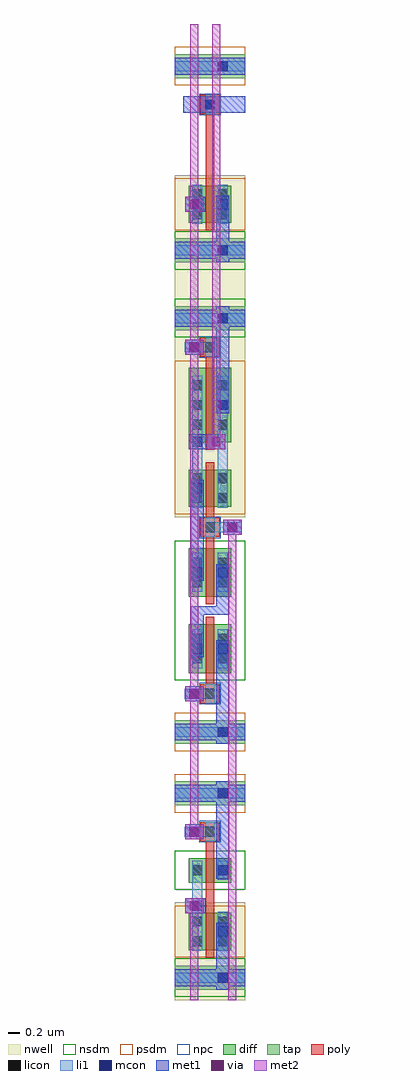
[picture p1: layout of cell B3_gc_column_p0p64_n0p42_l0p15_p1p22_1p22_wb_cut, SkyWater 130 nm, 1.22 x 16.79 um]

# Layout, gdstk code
from math import pi, radians
import gdstk
lib = gdstk.Library(unit=1e-6, precision=1e-09)
def R(c, l, rs):  # rectangles x0, y0, x1, y1
    for r in rs: c.add(gdstk.rectangle(r[:2], r[2:], *l))
def A(c, l, x, y, w, h, nx, ny, dx, dy):  # array of equal rectangles
    R(c, l, [(x+i*dx, y+j*dy, x+i*dx+w, y+j*dy+h) for i in range(nx) for j in range(ny)])
nwell = (64, 20)
diff = (65, 20)
tap = (65, 44)
poly = (66, 20)
licon = (66, 44)
li1 = (67, 20)
mcon = (67, 44)
met1 = (68, 20)
via = (68, 44)
met2 = (69, 20)
nsdm = (93, 44)
psdm = (94, 20)
npc = (95, 20)

b3_gc_pup_p0p64_n0p42_l0 = lib.new_cell('B3_gc_pup_p0p64_n0p42_l0p15_p1p22')
R(b3_gc_pup_p0p64_n0p42_l0, nwell, [(0,-0.245,1.68,0.975)])
R(b3_gc_pup_p0p64_n0p42_l0, diff, [(0.86,0,1.5,0.73)])
R(b3_gc_pup_p0p64_n0p42_l0, tap, [(0.18,-0.245,0.59,0.975), (3.35,-0.245,3.76,0.975)])
R(b3_gc_pup_p0p64_n0p42_l0, poly, [(2.73,0.2,3.06,0.53), (0.73,0.29,2.57,0.44), (0.73,0.29,1.63,0.44), (2.57,0.29,2.735,0.44)])
R(b3_gc_pup_p0p64_n0p42_l0, licon, [(0.3,0.06,0.47,0.23), (0.925,0.06,1.095,0.23), (1.265,0.06,1.435,0.23), (3.47,0.06,3.64,0.23), (2.81,0.28,2.98,0.45), (0.925,0.5,1.095,0.67), (1.265,0.5,1.435,0.67)])
R(b3_gc_pup_p0p64_n0p42_l0, li1, [(0.3,-0.245,0.47,0.975), (3.47,-0.245,3.64,0.975), (0.845,0.06,1.515,0.23), (2.73,0.28,3.06,0.45), (0.845,0.5,1.515,0.67), (0.845,0.5,1.515,0.67)])
R(b3_gc_pup_p0p64_n0p42_l0, mcon, [(0.3,0.06,0.47,0.23), (1.095,0.06,1.265,0.23), (3.47,0.06,3.64,0.23)])
R(b3_gc_pup_p0p64_n0p42_l0, met1, [(0.24,-0.245,0.53,0.975), (3.41,-0.245,3.7,0.975), (0.24,0,0.53,0.29), (3.41,0,3.7,0.29), (0.18,0.03,1.325,0.26), (1.035,0.03,1.325,0.26)])
R(b3_gc_pup_p0p64_n0p42_l0, nsdm, [(0.055,-0.245,0.715,0.975)])
R(b3_gc_pup_p0p64_n0p42_l0, psdm, [(0.735,-0.245,1.625,0.975), (3.225,-0.245,3.885,0.975)])
R(b3_gc_pup_p0p64_n0p42_l0, npc, [(2.71,0.18,3.08,0.55)])
b3_gc_pup_p0p64_n0p42_l0.add(gdstk.Label('vss', (3.555,0.145), layer=68, texttype=5))
b3_gc_pup_p0p64_n0p42_l0.add(gdstk.Label('vdd', (0.385,0.145), layer=68, texttype=5))
b3_gc_pup_p0p64_n0p42_l0.add(gdstk.Label('y', (1.18,0.585), layer=67, texttype=5))
b3_gc_pup_p0p64_n0p42_l0.add(gdstk.Label('a', (2.895,0.365), layer=67, texttype=5))

b3_gc_nand_p0p64_n0p42_l = lib.new_cell('B3_gc_nand_p0p64_n0p42_l0p15_p1p22')
R(b3_gc_nand_p0p64_n0p42_l, nwell, [(0,-0.245,3.81,0.975)])
R(b3_gc_nand_p0p64_n0p42_l, diff, [(1.24,0,2.52,0.73), (2.99,0,3.63,0.73), (4.34,0,5.18,0.73), (5.65,0,6.49,0.73)])
R(b3_gc_nand_p0p64_n0p42_l, tap, [(0.18,-0.245,0.59,0.975), (7.3,-0.245,7.71,0.975)])
R(b3_gc_nand_p0p64_n0p42_l, poly, [(0.72,0.2,1.05,0.53), (3.82,0.2,4.15,0.53), (6.68,0.2,7.01,0.53), (0.725,0.29,2.65,0.44), (1.11,0.29,2.65,0.44), (2.86,0.29,4.145,0.44), (2.86,0.29,3.76,0.44), (3.82,0.29,4.215,0.44), (4.21,0.29,5.31,0.44), (5.52,0.29,6.62,0.44), (5.52,0.29,7.005,0.44)])
A(b3_gc_nand_p0p64_n0p42_l, licon, 1.455, 0.06, 0.17, 0.17, 3, 2, 0.34, 0.44)
R(b3_gc_nand_p0p64_n0p42_l, licon, [(0.3,0.06,0.47,0.23), (3.055,0.06,3.225,0.23), (3.395,0.06,3.565,0.23), (4.505,0.06,4.675,0.23), (4.845,0.06,5.015,0.23), (5.815,0.06,5.985,0.23), (6.155,0.06,6.325,0.23), (7.42,0.06,7.59,0.23), (0.8,0.28,0.97,0.45), (3.9,0.28,4.07,0.45), (6.76,0.28,6.93,0.45), (3.055,0.5,3.225,0.67), (3.395,0.5,3.565,0.67), (4.505,0.5,4.675,0.67), (4.845,0.5,5.015,0.67), (5.815,0.5,5.985,0.67), (6.155,0.5,6.325,0.67)])
R(b3_gc_nand_p0p64_n0p42_l, li1, [(0.3,-0.245,0.47,0.975), (7.42,-0.245,7.59,0.975), (1.375,0.06,3.645,0.23), (1.375,0.06,2.385,0.23), (2.975,0.06,3.645,0.23), (4.425,0.06,5.095,0.23), (5.735,0.06,6.405,0.23), (0.72,0.28,1.05,0.45), (3.82,0.28,4.15,0.45), (6.68,0.28,7.01,0.45), (1.375,0.5,3.645,0.67), (1.375,0.5,2.385,0.67), (2.975,0.5,3.645,0.67), (4.425,0.5,5.095,0.67), (5.735,0.5,6.405,0.67)])
R(b3_gc_nand_p0p64_n0p42_l, mcon, [(0.3,0.06,0.47,0.23), (1.795,0.06,1.965,0.23), (4.675,0.06,4.845,0.23), (5.985,0.06,6.155,0.23), (7.42,0.06,7.59,0.23), (3.225,0.5,3.395,0.67), (4.675,0.5,4.845,0.67), (5.985,0.5,6.155,0.67)])
R(b3_gc_nand_p0p64_n0p42_l, met1, [(0.24,-0.245,0.53,0.975), (7.36,-0.245,7.65,0.975), (0.24,0,0.53,0.29), (7.36,0,7.65,0.29), (0.18,0.03,2.025,0.26), (1.735,0.03,2.025,0.26), (4.615,0.03,5.485,0.26), (4.615,0.03,4.905,0.26), (5.345,0.03,5.485,0.7), (5.925,0.03,7.71,0.26), (5.925,0.03,6.215,0.26), (3.165,0.47,4.905,0.7), (3.165,0.47,3.455,0.7), (4.615,0.47,4.905,0.7), (5.345,0.47,6.215,0.7), (5.925,0.47,6.215,0.7)])
R(b3_gc_nand_p0p64_n0p42_l, nsdm, [(0.055,-0.245,0.715,0.975), (4.215,-0.245,6.615,0.975)])
R(b3_gc_nand_p0p64_n0p42_l, psdm, [(1.115,-0.245,3.755,0.975), (7.175,-0.245,7.835,0.975)])
R(b3_gc_nand_p0p64_n0p42_l, npc, [(0.7,0.18,1.07,0.55), (3.8,0.18,4.17,0.55), (6.66,0.18,7.03,0.55)])
b3_gc_nand_p0p64_n0p42_l.add(gdstk.Label('vss', (7.505,0.145), layer=68, texttype=5))
b3_gc_nand_p0p64_n0p42_l.add(gdstk.Label('vdd', (0.385,0.145), layer=68, texttype=5))
b3_gc_nand_p0p64_n0p42_l.add(gdstk.Label('y', (2.51,0.585), layer=67, texttype=5))
b3_gc_nand_p0p64_n0p42_l.add(gdstk.Label('b', (0.885,0.365), layer=67, texttype=5))
b3_gc_nand_p0p64_n0p42_l.add(gdstk.Label('b', (6.845,0.365), layer=67, texttype=5))
b3_gc_nand_p0p64_n0p42_l.add(gdstk.Label('a', (3.985,0.365), layer=67, texttype=5))

b3_gc_inv_p0p64_n0p42_l0 = lib.new_cell('B3_gc_inv_p0p64_n0p42_l0p15_p1p22')
R(b3_gc_inv_p0p64_n0p42_l0, nwell, [(0,-0.245,1.68,0.975)])
R(b3_gc_inv_p0p64_n0p42_l0, diff, [(0.86,0,1.5,0.73), (2.02,0,2.44,0.73)])
R(b3_gc_inv_p0p64_n0p42_l0, tap, [(0.18,-0.245,0.59,0.975), (3.35,-0.245,3.76,0.975)])
R(b3_gc_inv_p0p64_n0p42_l0, poly, [(2.73,0.2,3.06,0.53), (0.73,0.29,2.57,0.44), (0.73,0.29,1.63,0.44), (1.89,0.29,2.57,0.44), (2.57,0.29,2.735,0.44)])
R(b3_gc_inv_p0p64_n0p42_l0, licon, [(0.3,0.06,0.47,0.23), (0.925,0.06,1.095,0.23), (1.265,0.06,1.435,0.23), (2.145,0.06,2.315,0.23), (3.47,0.06,3.64,0.23), (2.81,0.28,2.98,0.45), (0.925,0.5,1.095,0.67), (1.265,0.5,1.435,0.67), (2.145,0.5,2.315,0.67)])
R(b3_gc_inv_p0p64_n0p42_l0, li1, [(0.3,-0.245,0.47,0.975), (3.47,-0.245,3.64,0.975), (0.845,0.06,1.515,0.23), (2.065,0.06,2.395,0.23), (2.73,0.28,3.06,0.45), (0.845,0.5,2.395,0.67), (0.845,0.5,1.515,0.67), (2.065,0.5,2.395,0.67)])
R(b3_gc_inv_p0p64_n0p42_l0, mcon, [(0.3,0.06,0.47,0.23), (1.095,0.06,1.265,0.23), (2.145,0.06,2.315,0.23), (3.47,0.06,3.64,0.23)])
R(b3_gc_inv_p0p64_n0p42_l0, met1, [(0.24,-0.245,0.53,0.975), (3.41,-0.245,3.7,0.975), (0.24,0,0.53,0.29), (3.41,0,3.7,0.29), (0.18,0.03,1.325,0.26), (1.035,0.03,1.325,0.26), (2.085,0.03,3.76,0.26), (2.085,0.03,2.375,0.26)])
R(b3_gc_inv_p0p64_n0p42_l0, nsdm, [(0.055,-0.245,0.715,0.975), (1.895,-0.245,2.565,0.975)])
R(b3_gc_inv_p0p64_n0p42_l0, psdm, [(0.735,-0.245,1.625,0.975), (3.225,-0.245,3.885,0.975)])
R(b3_gc_inv_p0p64_n0p42_l0, npc, [(2.71,0.18,3.08,0.55)])
b3_gc_inv_p0p64_n0p42_l0.add(gdstk.Label('vss', (3.555,0.145), layer=68, texttype=5))
b3_gc_inv_p0p64_n0p42_l0.add(gdstk.Label('vdd', (0.385,0.145), layer=68, texttype=5))
b3_gc_inv_p0p64_n0p42_l0.add(gdstk.Label('y', (1.62,0.585), layer=67, texttype=5))
b3_gc_inv_p0p64_n0p42_l0.add(gdstk.Label('a', (2.895,0.365), layer=67, texttype=5))

b3_gc_column_p0p64_n0p42 = lib.new_cell('B3_gc_column_p0p64_n0p42_l0p15_p1p22_1p22_wb_cut')
R(b3_gc_column_p0p64_n0p42, nwell, [(0,12.115,1.22,12.51)])
R(b3_gc_column_p0p64_n0p42, li1, [(0.175,2.81,0.505,2.98), (0.34,2.81,0.61,2.98), (0.175,5.185,0.505,5.355), (0.34,5.185,0.61,5.355), (0.61,8.045,0.995,8.215), (0.83,8.045,1.16,8.215), (0.175,11.145,0.505,11.315), (0.34,11.145,0.61,11.315)])
R(b3_gc_column_p0p64_n0p42, mcon, [(0.305,1.535,0.475,1.705), (0.255,2.81,0.425,2.98), (0.255,5.185,0.425,5.355), (0.91,8.045,1.08,8.215), (0.305,9.52,0.475,9.69), (0.255,11.145,0.425,11.315), (0.305,13.605,0.475,13.775), (0.525,15.32,0.695,15.49)])
R(b3_gc_column_p0p64_n0p42, met1, [(0,0.315,1.22,0.455), (0.18,1.49,0.535,1.75), (0.18,1.49,0.5,1.75), (0.245,1.505,0.535,1.735), (0.18,2.765,0.5,3.025), (0,3.485,1.22,3.625), (0,4.54,1.22,4.68), (0.18,5.14,0.5,5.4), (0.835,8,1.155,8.26), (0.245,9.475,0.875,9.735), (0.555,9.475,0.875,9.735), (0.245,9.49,0.535,9.72), (0.18,11.1,0.5,11.36), (0,11.66,1.22,11.8), (0,12.825,1.22,12.965), (0.18,13.56,0.535,13.82), (0.18,13.56,0.5,13.82), (0.245,13.575,0.535,13.805), (0.15,15.26,1.22,15.55), (0.465,15.26,0.755,15.55), (0,15.995,1.22,16.135)])
R(b3_gc_column_p0p64_n0p42, via, [(0.265,1.545,0.415,1.695), (0.265,2.82,0.415,2.97), (0.265,5.195,0.415,5.345), (0.92,8.055,1.07,8.205), (0.64,9.53,0.79,9.68), (0.265,11.155,0.415,11.305), (0.265,13.615,0.415,13.765)])
R(b3_gc_column_p0p64_n0p42, met2, [(0.27,0,0.41,1.62), (0.925,0,1.065,8.13), (0.18,1.49,0.5,1.75), (0.18,2.765,0.5,3.025), (0.27,2.895,0.41,16.79), (0.18,5.14,0.5,5.4), (0.835,8,1.155,8.26), (0.555,9.475,0.875,9.735), (0.645,9.605,0.785,16.79), (0.18,11.1,0.5,11.36), (0.18,13.56,0.5,13.82)])
b3_gc_column_p0p64_n0p42.add(gdstk.Reference(b3_gc_pup_p0p64_n0p42_l0, (0.975,12.51), rotation=pi/2))
b3_gc_column_p0p64_n0p42.add(gdstk.Reference(b3_gc_nand_p0p64_n0p42_l, (0.975,12.115), rotation=3*pi/2, x_reflection=True))
b3_gc_column_p0p64_n0p42.add(gdstk.Reference(b3_gc_inv_p0p64_n0p42_l0, (0.975,0), rotation=pi/2))

lib.write_gds('B3_gc_column_p0p64_n0p42_l0p15_p1p22_1p22_wb_cut.gds')
